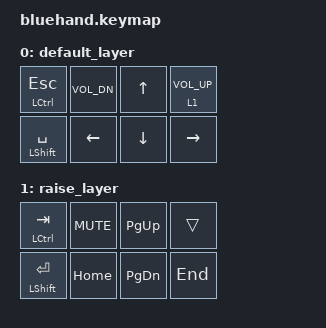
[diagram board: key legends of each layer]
/*
 * Copyright (c) 2021 DonPavlov
 *
 * SPDX-License-Identifier: MIT
 */

#include <behaviors.dtsi>
#include <dt-bindings/zmk/keys.h>
#include <dt-bindings/zmk/bt.h>

&lt { quick_tap_ms = <0>; };

/ {
   combos {
        compatible = "zmk,combos";
        combo_f {
            timeout-ms = <50>;
            key-positions = <0 4>;
            bindings = <&kp F>;
        };
    };
};

/ {
    keymap {
        compatible = "zmk,keymap";

        default_layer {
            bindings = <
                &mt LCTRL ESC   &kp C_VOL_DN &kp UP       &lt 1 C_VOL_UP
                &mt LSHFT SPACE &kp LEFT     &kp DOWN     &kp RIGHT
            >;
        };

        raise_layer {
            bindings = <
                &mt LCTRL TAB   &kp C_MUTE   &kp PG_UP    &trans
                &mt LSHFT RET   &kp HOME     &kp PG_DN    &kp END
            >;
        };
    };
};
